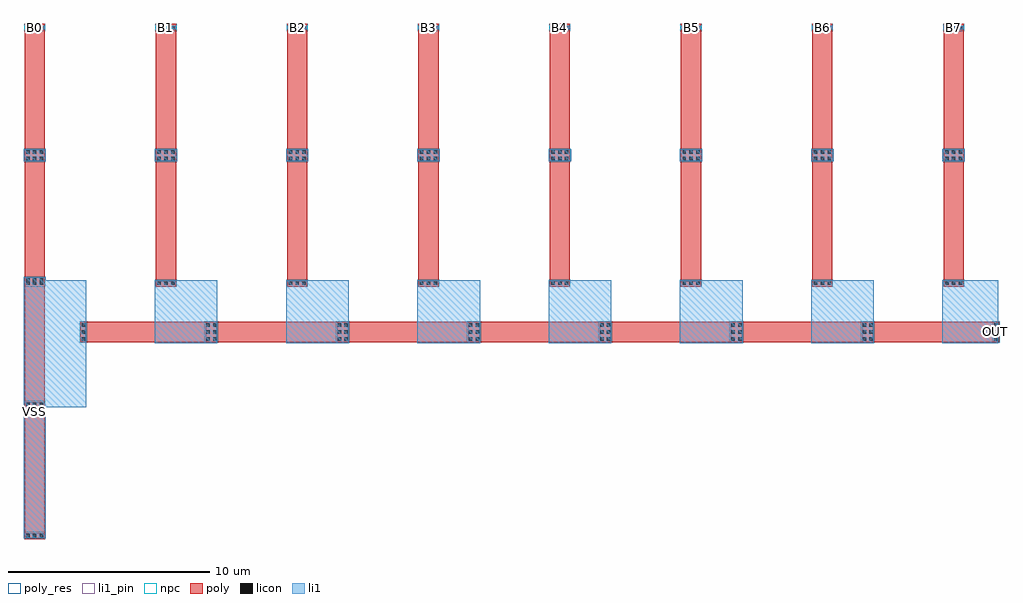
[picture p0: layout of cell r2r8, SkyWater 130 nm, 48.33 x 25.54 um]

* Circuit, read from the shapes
.subckt r2r8 B0 B1 B2 B3 B4 B5 B6 B7 OUT VSS
R1 VSS VSS sky130_fd_pr__res_generic_po w=1 l=6
R2 n1 VSS sky130_fd_pr__res_generic_po w=1 l=12
R3 B0 n1 sky130_fd_pr__res_generic_po w=1 l=6
R4 n2 VSS sky130_fd_pr__res_generic_po w=1 l=6
R5 n3 n2 sky130_fd_pr__res_generic_po w=1 l=6
R6 B1 n3 sky130_fd_pr__res_generic_po w=1 l=6
R7 n4 n2 sky130_fd_pr__res_generic_po w=1 l=6
R8 n5 n4 sky130_fd_pr__res_generic_po w=1 l=6
R9 B2 n5 sky130_fd_pr__res_generic_po w=1 l=6
R10 n6 n4 sky130_fd_pr__res_generic_po w=1 l=6
R11 n7 n6 sky130_fd_pr__res_generic_po w=1 l=6
R12 B3 n7 sky130_fd_pr__res_generic_po w=1 l=6
R13 n8 n6 sky130_fd_pr__res_generic_po w=1 l=6
R14 n9 n8 sky130_fd_pr__res_generic_po w=1 l=6
R15 B4 n9 sky130_fd_pr__res_generic_po w=1 l=6
R16 n10 n8 sky130_fd_pr__res_generic_po w=1 l=6
R17 n11 n10 sky130_fd_pr__res_generic_po w=1 l=6
R18 B5 n11 sky130_fd_pr__res_generic_po w=1 l=6
R19 n12 n10 sky130_fd_pr__res_generic_po w=1 l=6
R20 n13 n12 sky130_fd_pr__res_generic_po w=1 l=6
R21 B6 n13 sky130_fd_pr__res_generic_po w=1 l=6
R22 OUT n12 sky130_fd_pr__res_generic_po w=1 l=6
R23 n14 OUT sky130_fd_pr__res_generic_po w=1 l=6
R24 B7 n14 sky130_fd_pr__res_generic_po w=1 l=6
.ends

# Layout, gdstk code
import gdstk
lib = gdstk.Library(unit=1e-6, precision=1e-09)
def R(c, l, rs):  # rectangles x0, y0, x1, y1
    for r in rs: c.add(gdstk.rectangle(r[:2], r[2:], *l))
def A(c, l, x, y, w, h, nx, ny, dx, dy):  # array of equal rectangles
    R(c, l, [(x+i*dx, y+j*dy, x+i*dx+w, y+j*dy+h) for i in range(nx) for j in range(ny)])
poly_res = (66, 13)
poly = (66, 20)
licon = (66, 44)
li1_pin = (67, 16)
li1 = (67, 20)
npc = (95, 20)

r2r8 = lib.new_cell('r2r8')
A(r2r8, poly_res, 3, 0, 6, 1, 7, 1, 6.5, 0)
A(r2r8, poly_res, 0, 3, 1, 6, 8, 2, 6.5, 6.5)
R(r2r8, poly_res, [(0,-9.5,1,-3.5), (0,-3,1,3)])
A(r2r8, poly, 2.75, 0, 6.5, 1, 7, 1, 6.5, 0)
A(r2r8, poly, 0, 2.75, 1, 6.5, 8, 2, 6.5, 6.5)
R(r2r8, poly, [(0,-9.75,1,-3.25), (0,-3.25,1,3.25)])
A(r2r8, licon, 0.075, -9.67, 0.17, 0.17, 3, 2, 0.34, 6.17)
A(r2r8, licon, 0.075, -3.17, 0.17, 0.17, 3, 2, 0.34, 6)
A(r2r8, licon, 2.83, 0.075, 0.17, 0.17, 1, 3, 0, 0.34)
A(r2r8, licon, 9, 0.075, 0.17, 0.17, 1, 3, 0, 0.34)
A(r2r8, licon, 9.33, 0.075, 0.17, 0.17, 1, 3, 0, 0.34)
A(r2r8, licon, 15.5, 0.075, 0.17, 0.17, 1, 3, 0, 0.34)
A(r2r8, licon, 15.83, 0.075, 0.17, 0.17, 1, 3, 0, 0.34)
A(r2r8, licon, 22, 0.075, 0.17, 0.17, 1, 3, 0, 0.34)
A(r2r8, licon, 22.33, 0.075, 0.17, 0.17, 1, 3, 0, 0.34)
A(r2r8, licon, 28.5, 0.075, 0.17, 0.17, 1, 3, 0, 0.34)
A(r2r8, licon, 28.83, 0.075, 0.17, 0.17, 1, 3, 0, 0.34)
A(r2r8, licon, 35, 0.075, 0.17, 0.17, 1, 3, 0, 0.34)
A(r2r8, licon, 35.33, 0.075, 0.17, 0.17, 1, 3, 0, 0.34)
A(r2r8, licon, 41.5, 0.075, 0.17, 0.17, 1, 3, 0, 0.34)
A(r2r8, licon, 41.83, 0.075, 0.17, 0.17, 1, 3, 0, 0.34)
A(r2r8, licon, 48, 0.075, 0.17, 0.17, 1, 3, 0, 0.34)
A(r2r8, licon, 6.575, 2.83, 0.17, 0.17, 3, 2, 0.34, 6.17)
A(r2r8, licon, 13.075, 2.83, 0.17, 0.17, 3, 2, 0.34, 6.17)
A(r2r8, licon, 19.575, 2.83, 0.17, 0.17, 3, 2, 0.34, 6.17)
A(r2r8, licon, 26.075, 2.83, 0.17, 0.17, 3, 2, 0.34, 6.17)
A(r2r8, licon, 32.575, 2.83, 0.17, 0.17, 3, 2, 0.34, 6.17)
A(r2r8, licon, 39.075, 2.83, 0.17, 0.17, 3, 2, 0.34, 6.17)
A(r2r8, licon, 45.575, 2.83, 0.17, 0.17, 3, 2, 0.34, 6.17)
A(r2r8, licon, 0.075, 3, 0.17, 0.17, 3, 2, 0.34, 6)
A(r2r8, licon, 0.075, 9.33, 0.17, 0.17, 3, 2, 0.34, 6.17)
A(r2r8, licon, 6.575, 9.33, 0.17, 0.17, 3, 2, 0.34, 6.17)
A(r2r8, licon, 13.075, 9.33, 0.17, 0.17, 3, 2, 0.34, 6.17)
A(r2r8, licon, 19.575, 9.33, 0.17, 0.17, 3, 2, 0.34, 6.17)
A(r2r8, licon, 26.075, 9.33, 0.17, 0.17, 3, 2, 0.34, 6.17)
A(r2r8, licon, 32.575, 9.33, 0.17, 0.17, 3, 2, 0.34, 6.17)
A(r2r8, licon, 39.075, 9.33, 0.17, 0.17, 3, 2, 0.34, 6.17)
A(r2r8, licon, 45.575, 9.33, 0.17, 0.17, 3, 2, 0.34, 6.17)
A(r2r8, li1_pin, -0.005, 15.5, 1.01, 0.17, 8, 1, 6.5, 0)
R(r2r8, li1_pin, [(-0.005,-3.5,1.005,-3.33), (48,-0.005,48.17,1.005)])
A(r2r8, li1, 6.445, -0.055, 3.105, 3.105, 6, 1, 6.5, 0)
A(r2r8, li1, -0.005, 2.83, 1.01, 0.17, 8, 2, 6.5, 6.17)
A(r2r8, li1, -0.055, 8.95, 1.11, 0.6, 8, 1, 6.5, 0)
A(r2r8, li1, -0.005, 9.33, 1.01, 0.17, 8, 2, 6.5, 6.17)
R(r2r8, li1, [(-0.055,-9.72,1.055,3.22), (-0.005,-9.67,1.005,-9.5), (-0.005,-3.5,1.005,-3.33), (-0.055,-3.22,3.05,3.05), (-0.005,-3.17,1.005,-3), (45.445,-0.055,48.22,3.05), (2.83,-0.005,3,1.005), (9,-0.005,9.17,1.005), (9.33,-0.005,9.5,1.005), (15.5,-0.005,15.67,1.005), (15.83,-0.005,16,1.005), (22,-0.005,22.17,1.005), (22.33,-0.005,22.5,1.005), (28.5,-0.005,28.67,1.005), (28.83,-0.005,29,1.005), (35,-0.005,35.17,1.005), (35.33,-0.005,35.5,1.005), (41.5,-0.005,41.67,1.005), (41.83,-0.005,42,1.005), (48,-0.005,48.17,1.005), (-0.005,3,1.005,3.17)])
A(r2r8, npc, -0.025, 2.73, 1.05, 0.37, 8, 2, 6.5, 6.17)
A(r2r8, npc, -0.025, 9.23, 1.05, 0.37, 8, 2, 6.5, 6.17)
R(r2r8, npc, [(-0.025,-9.77,1.025,-9.4), (-0.025,-3.6,1.025,-3.23), (-0.025,-3.27,1.025,-2.9), (2.73,-0.025,3.1,1.025), (8.9,-0.025,9.27,1.025), (9.23,-0.025,9.6,1.025), (15.4,-0.025,15.77,1.025), (15.73,-0.025,16.1,1.025), (21.9,-0.025,22.27,1.025), (22.23,-0.025,22.6,1.025), (28.4,-0.025,28.77,1.025), (28.73,-0.025,29.1,1.025), (34.9,-0.025,35.27,1.025), (35.23,-0.025,35.6,1.025), (41.4,-0.025,41.77,1.025), (41.73,-0.025,42.1,1.025), (47.9,-0.025,48.27,1.025), (-0.025,2.9,1.025,3.27)])
r2r8.add(gdstk.Label('VSS', (0.5,-3.415), layer=67, texttype=16))
r2r8.add(gdstk.Label('OUT', (48.085,0.5), layer=67, texttype=16))
r2r8.add(gdstk.Label('B0', (0.5,15.585), layer=67, texttype=16))
r2r8.add(gdstk.Label('B1', (7,15.585), layer=67, texttype=16))
r2r8.add(gdstk.Label('B2', (13.5,15.585), layer=67, texttype=16))
r2r8.add(gdstk.Label('B3', (20,15.585), layer=67, texttype=16))
r2r8.add(gdstk.Label('B4', (26.5,15.585), layer=67, texttype=16))
r2r8.add(gdstk.Label('B5', (33,15.585), layer=67, texttype=16))
r2r8.add(gdstk.Label('B6', (39.5,15.585), layer=67, texttype=16))
r2r8.add(gdstk.Label('B7', (46,15.585), layer=67, texttype=16))
r2r8.add(gdstk.Label('VSS', (0.5,-3.415), layer=67, texttype=5))
r2r8.add(gdstk.Label('OUT', (48.085,0.5), layer=67, texttype=5))
r2r8.add(gdstk.Label('B0', (0.5,15.585), layer=67, texttype=5))
r2r8.add(gdstk.Label('B1', (7,15.585), layer=67, texttype=5))
r2r8.add(gdstk.Label('B2', (13.5,15.585), layer=67, texttype=5))
r2r8.add(gdstk.Label('B3', (20,15.585), layer=67, texttype=5))
r2r8.add(gdstk.Label('B4', (26.5,15.585), layer=67, texttype=5))
r2r8.add(gdstk.Label('B5', (33,15.585), layer=67, texttype=5))
r2r8.add(gdstk.Label('B6', (39.5,15.585), layer=67, texttype=5))
r2r8.add(gdstk.Label('B7', (46,15.585), layer=67, texttype=5))

lib.write_gds('r2r8.gds')
